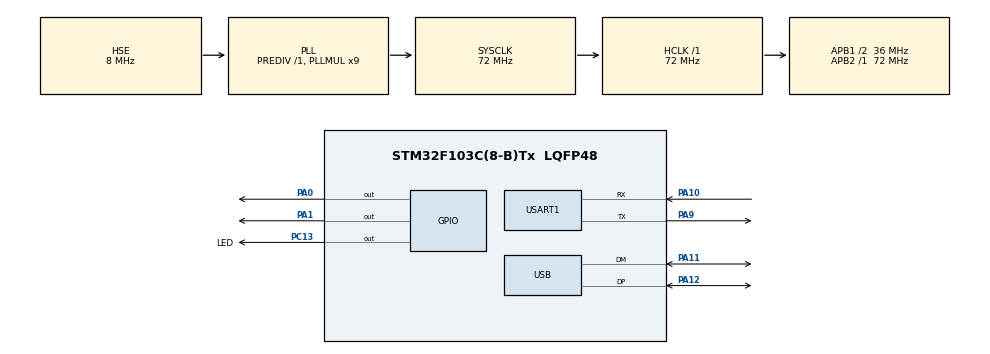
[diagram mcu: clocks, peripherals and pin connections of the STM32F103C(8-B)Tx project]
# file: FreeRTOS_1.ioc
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Mcu.Family=STM32F1
RCC.PLLSourceVirtual=RCC_PLLSOURCE_HSE
PC15-OSC32_OUT.Mode=LSE-External-Oscillator
USB_DEVICE.CLASS_NAME_FS=CDC
FREERTOS.Tasks01=defaultTask,0,128,StartDefaultTask,Default,NULL,Dynamic,NULL,NULL;Task2,1,128,Task2_init,Default,NULL,Dynamic,NULL,NULL;Task3,-1,128,Task3_init,Default,NULL,Dynamic,NULL,NULL;TaskLED,-2,128,TaskLED_init,Default,NULL,Dynamic,NULL,NULL
PD1-OSC_OUT.Mode=HSE-External-Oscillator
PA10.Mode=Asynchronous
USB_DEVICE.VirtualModeFS=Cdc_FS
PC13-TAMPER-RTC.Signal=GPIO_Output
RCC.USBPrescaler=RCC_USBCLKSOURCE_PLL_DIV1_5
PA11.Mode=Device
NVIC.TIM1_UP_IRQn=true\:0\:0\:false\:false\:true\:false\:false\:true
PD0-OSC_IN.Signal=RCC_OSC_IN
RCC.APB1CLKDivider=RCC_HCLK_DIV2
PC14-OSC32_IN.Signal=RCC_OSC32_IN
RCC.SYSCLKSource=RCC_SYSCLKSOURCE_PLLCLK
ProjectManager.StackSize=0x400
PA0-WKUP.Signal=GPIO_Output
PD1-OSC_OUT.Signal=RCC_OSC_OUT
PA13.Signal=SYS_JTMS-SWDIO
PA9.Mode=Asynchronous
PA12.Signal=USB_DP
ProjectManager.TargetToolchain=STM32CubeIDE
RCC.HCLKFreq_Value=72000000
VP_USB_DEVICE_VS_USB_DEVICE_CDC_FS.Mode=CDC_FS
RCC.APB2TimFreq_Value=72000000
PA9.Signal=USART1_TX
RCC.USBFreq_Value=48000000
PC15-OSC32_OUT.Signal=RCC_OSC32_OUT
PA1.Signal=GPIO_Output
RCC.AHBFreq_Value=72000000
PD0-OSC_IN.Mode=HSE-External-Oscillator
FREERTOS.configUSE_PREEMPTION=1
board=custom
PC13-TAMPER-RTC.GPIO_Label=LED
RCC.PLLMUL=RCC_PLL_MUL9
RCC.APB2Freq_Value=72000000
PC14-OSC32_IN.Mode=LSE-External-Oscillator
PC13-TAMPER-RTC.PinState=GPIO_PIN_SET
PA14.Mode=Serial_Wire
VP_SYS_VS_tim1.Mode=TIM1
NVIC.USB_LP_CAN1_RX0_IRQn=true\:5\:0\:false\:false\:true\:true\:false\:true
VP_FREERTOS_VS_CMSIS_V1.Mode=CMSIS_V1
PA13.Mode=Serial_Wire
Mcu.Name=STM32F103C(8-B)Tx
FREERTOS.configTOTAL_HEAP_SIZE=3000
RCC.SYSCLKFreq_VALUE=72000000
Mcu.Package=LQFP48
NVIC.TimeBase=TIM1_UP_IRQn
PA12.Mode=Device
RCC.EnbaleCSS=true
USART1.VirtualMode=VM_ASYNC
PA11.Signal=USB_DM
NVIC.TimeBaseIP=TIM1
PA10.Signal=USART1_RX
PA14.Signal=SYS_JTCK-SWCLK
ProjectManager.HeapSize=0x600
NVIC.PriorityGroup=NVIC_PRIORITYGROUP_4
RCC.APB1TimFreq_Value=72000000
RCC.APB1Freq_Value=36000000
USB_DEVICE.VirtualMode=Cdc

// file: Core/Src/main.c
/* USER CODE BEGIN Header */
/**
  ******************************************************************************
  * @file           : main.c
  * @brief          : Main program body
  ******************************************************************************
  * @attention
  *
  * <h2><center>&copy; Copyright (c) 2021 STMicroelectronics.
  * All rights reserved.</center></h2>
  *
  * This software component is licensed by ST under BSD 3-Clause license,
  * the "License"; You may not use this file except in compliance with the
  * License. You may obtain a copy of the License at:
  *                        opensource.org/licenses/BSD-3-Clause
  *
  ******************************************************************************
  */
/* USER CODE END Header */
#include "main.h"
#include "cmsis_os.h"
#include "usart.h"
#include "usb_device.h"
#include "gpio.h"

void SystemClock_Config(void);
void MX_FREERTOS_Init(void);

int main(void)
{

  /* MCU Configuration--------------------------------------------------------*/

  /* Reset of all peripherals, Initializes the Flash interface and the Systick. */
  HAL_Init();

  /* Configure the system clock */
  SystemClock_Config();

  /* Initialize all configured peripherals */
  MX_GPIO_Init();
  MX_USART1_UART_Init();

  /* Call init function for freertos objects (in freertos.c) */
  MX_FREERTOS_Init();
  /* Start scheduler */
  osKernelStart();

  /* We should never get here as control is now taken by the scheduler */
  /* Infinite loop */
  while (1)
  {

  }
}

void SystemClock_Config(void)
{
  RCC_OscInitTypeDef RCC_OscInitStruct = {0};
  RCC_ClkInitTypeDef RCC_ClkInitStruct = {0};
  RCC_PeriphCLKInitTypeDef PeriphClkInit = {0};

  /** Initializes the RCC Oscillators according to the specified parameters
  * in the RCC_OscInitTypeDef structure.
  */
  RCC_OscInitStruct.OscillatorType = RCC_OSCILLATORTYPE_HSE;
  RCC_OscInitStruct.HSEState = RCC_HSE_ON;
  RCC_OscInitStruct.HSEPredivValue = RCC_HSE_PREDIV_DIV1;
  RCC_OscInitStruct.HSIState = RCC_HSI_ON;
  RCC_OscInitStruct.PLL.PLLState = RCC_PLL_ON;
  RCC_OscInitStruct.PLL.PLLSource = RCC_PLLSOURCE_HSE;
  RCC_OscInitStruct.PLL.PLLMUL = RCC_PLL_MUL9;
  if (HAL_RCC_OscConfig(&RCC_OscInitStruct) != HAL_OK)
  {
    Error_Handler();
  }
  /** Initializes the CPU, AHB and APB buses clocks
  */
  RCC_ClkInitStruct.ClockType = RCC_CLOCKTYPE_HCLK|RCC_CLOCKTYPE_SYSCLK
                              |RCC_CLOCKTYPE_PCLK1|RCC_CLOCKTYPE_PCLK2;
  RCC_ClkInitStruct.SYSCLKSource = RCC_SYSCLKSOURCE_PLLCLK;
  RCC_ClkInitStruct.AHBCLKDivider = RCC_SYSCLK_DIV1;
  RCC_ClkInitStruct.APB1CLKDivider = RCC_HCLK_DIV2;
  RCC_ClkInitStruct.APB2CLKDivider = RCC_HCLK_DIV1;

  if (HAL_RCC_ClockConfig(&RCC_ClkInitStruct, FLASH_LATENCY_2) != HAL_OK)
  {
    Error_Handler();
  }
  PeriphClkInit.PeriphClockSelection = RCC_PERIPHCLK_USB;
  PeriphClkInit.UsbClockSelection = RCC_USBCLKSOURCE_PLL_DIV1_5;
  if (HAL_RCCEx_PeriphCLKConfig(&PeriphClkInit) != HAL_OK)
  {
    Error_Handler();
  }
  /** Enables the Clock Security System
  */
  HAL_RCC_EnableCSS();
}

 /**
  * @brief  Period elapsed callback in non blocking mode
  * @note   This function is called  when TIM1 interrupt took place, inside
  * HAL_TIM_IRQHandler(). It makes a direct call to HAL_IncTick() to increment
  * a global variable "uwTick" used as application time base.
  * @param  htim : TIM handle
  * @retval None
  */
void HAL_TIM_PeriodElapsedCallback(TIM_HandleTypeDef *htim)
{
  if (htim->Instance == TIM1) {
    HAL_IncTick();
  }
}

void Error_Handler(void)
{
  __disable_irq();
  while (1)
  {
  }
}

/************************ (C) COPYRIGHT STMicroelectronics *****END OF FILE****/

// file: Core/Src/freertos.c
/* USER CODE BEGIN Header */
/**
  ******************************************************************************
  * File Name          : freertos.c
  * Description        : Code for freertos applications
  ******************************************************************************
  * @attention
  *
  * <h2><center>&copy; Copyright (c) 2021 STMicroelectronics.
  * All rights reserved.</center></h2>
  *
  * This software component is licensed by ST under Ultimate Liberty license
  * SLA0044, the "License"; You may not use this file except in compliance with
  * the License. You may obtain a copy of the License at:
  *                             www.st.com/SLA0044
  *
  ******************************************************************************
  */
/* USER CODE END Header */

#include "FreeRTOS.h"
#include "task.h"
#include "main.h"
#include "cmsis_os.h"

/* USER CODE BEGIN Includes */
#include "printf_custom.h"
/* USER CODE END Includes */

/* USER CODE BEGIN Variables */
void send_deftask(void)
{
	while(printf_custom("Hello from deftask   %s   %c   %i   %u   %o   %x   %b   %.2f   %f\r\n", "string", 'X', -33, 33, 33, 33, 33, -33.33, 33.33)!=0)
		osDelay(1);
}
void send_task2(void)
{
	while(printf_custom("Hello from task2\r\n")!=0)
		osDelay(1);
}

void send_task3(void)
{
	while(printf_custom("Hello from task3\r\n")!=0)
		osDelay(1);
}

/* USER CODE END Variables */
osThreadId defaultTaskHandle;
osThreadId Task2Handle;
osThreadId Task3Handle;
osThreadId TaskLEDHandle;

void StartDefaultTask(void const * argument);
void Task2_init(void const * argument);
void Task3_init(void const * argument);
void TaskLED_init(void const * argument);

extern void MX_USB_DEVICE_Init(void);
void MX_FREERTOS_Init(void); /* (MISRA C 2004 rule 8.1) */

/* GetIdleTaskMemory prototype (linked to static allocation support) */
void vApplicationGetIdleTaskMemory( StaticTask_t **ppxIdleTaskTCBBuffer, StackType_t **ppxIdleTaskStackBuffer, uint32_t *pulIdleTaskStackSize );

/* USER CODE BEGIN GET_IDLE_TASK_MEMORY */
static StaticTask_t xIdleTaskTCBBuffer;
static StackType_t xIdleStack[configMINIMAL_STACK_SIZE];

void vApplicationGetIdleTaskMemory( StaticTask_t **ppxIdleTaskTCBBuffer, StackType_t **ppxIdleTaskStackBuffer, uint32_t *pulIdleTaskStackSize )
{
  *ppxIdleTaskTCBBuffer = &xIdleTaskTCBBuffer;
  *ppxIdleTaskStackBuffer = &xIdleStack[0];
  *pulIdleTaskStackSize = configMINIMAL_STACK_SIZE;
  /* place for user code */
}
/* USER CODE END GET_IDLE_TASK_MEMORY */

void MX_FREERTOS_Init(void) {

  /* Create the thread(s) */
  /* definition and creation of defaultTask */
  osThreadDef(defaultTask, StartDefaultTask, osPriorityNormal, 0, 128);
  defaultTaskHandle = osThreadCreate(osThread(defaultTask), NULL);

  /* definition and creation of Task2 */
  osThreadDef(Task2, Task2_init, osPriorityAboveNormal, 0, 128);
  Task2Handle = osThreadCreate(osThread(Task2), NULL);

  /* definition and creation of Task3 */
  osThreadDef(Task3, Task3_init, osPriorityBelowNormal, 0, 128);
  Task3Handle = osThreadCreate(osThread(Task3), NULL);

  /* definition and creation of TaskLED */
  osThreadDef(TaskLED, TaskLED_init, osPriorityLow, 0, 128);
  TaskLEDHandle = osThreadCreate(osThread(TaskLED), NULL);

}

void StartDefaultTask(void const * argument)
{
  /* init code for USB_DEVICE */
  MX_USB_DEVICE_Init();
  /* USER CODE BEGIN StartDefaultTask */
  /* Infinite loop */
  for(;;)
  {
	  send_deftask();
	  HAL_GPIO_TogglePin(GPIOA, GPIO_PIN_0);
	  osDelay(1000);
  }
  /* USER CODE END StartDefaultTask */
}

void Task2_init(void const * argument)
{
  /* USER CODE BEGIN Task2_init */
  /* Infinite loop */
  for(;;)
  {
	  send_task2();
	  HAL_GPIO_TogglePin(GPIOA, GPIO_PIN_1);
	  osDelay(1000);
  }
  /* USER CODE END Task2_init */
}

void Task3_init(void const * argument)
{
  /* USER CODE BEGIN Task3_init */
  /* Infinite loop */
  for(;;)
  {
	  send_task3();
	  osDelay(1000);
  }
  /* USER CODE END Task3_init */
}

void TaskLED_init(void const * argument)
{
  /* USER CODE BEGIN TaskLED_init */
  /* Infinite loop */
  for(;;)
  {
	  HAL_GPIO_TogglePin(LED_GPIO_Port, LED_Pin);
    osDelay(500);
  }
  /* USER CODE END TaskLED_init */
}

/************************ (C) COPYRIGHT STMicroelectronics *****END OF FILE****/
